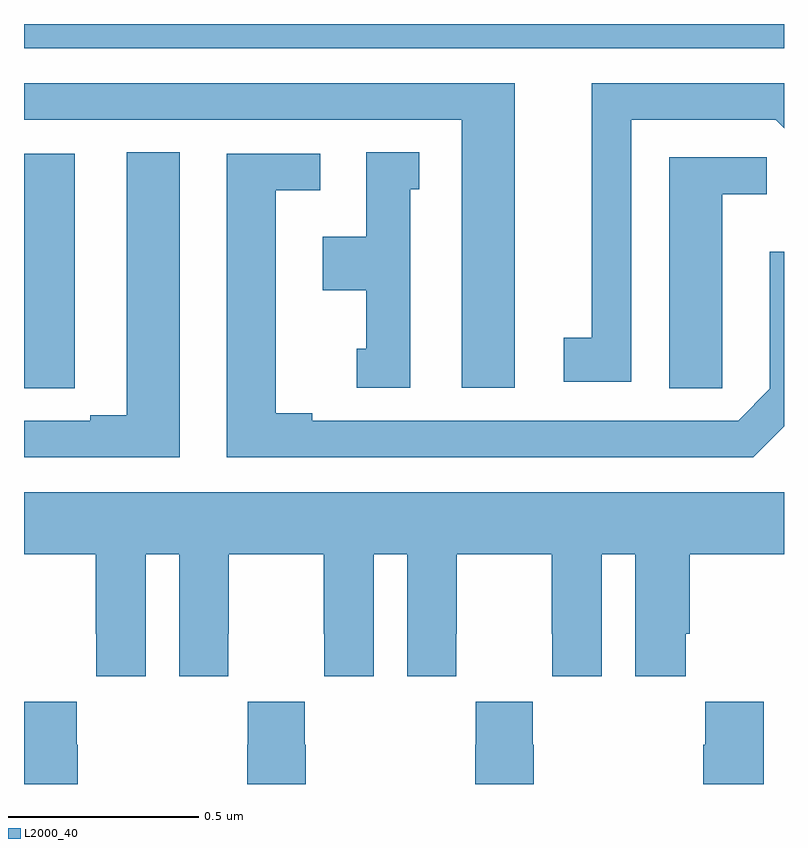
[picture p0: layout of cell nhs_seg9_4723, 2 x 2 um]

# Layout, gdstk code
import gdstk
lib = gdstk.Library(unit=1e-6, precision=1e-09)
def R(c, l, rs):  # rectangles x0, y0, x1, y1
    for r in rs: c.add(gdstk.rectangle(r[:2], r[2:], *l))
def P(c, l, *ps):  # polygons
    for p in ps: c.add(gdstk.Polygon(p, *l))
L2000_40 = (2000, 40)

nhs_seg9_4723 = lib.new_cell('nhs_seg9_4723')
R(nhs_seg9_4723, L2000_40, [(170,1180.436,172,1180.5)])
P(nhs_seg9_4723, L2000_40, [(171.598,1180.248),(171.978,1180.248),(172,1180.226),(172,1180.344),(171.494,1180.344),(171.494,1179.674),(171.42,1179.674),(171.42,1179.558),(171.598,1179.558)],
  [(171.292,1180.344),(170,1180.344),(170,1180.248),(171.152,1180.248),(171.152,1179.543),(171.292,1179.543)],
  [(170.41,1180.163),(170.27,1180.163),(170.27,1179.471),(170.174,1179.471),(170.174,1179.456),(170,1179.456),(170,1179.36),(170.41,1179.36)],
  [(171.016,1180.065),(171.04,1180.065),(171.04,1180.163),(170.9,1180.163),(170.9,1179.94),(170.786,1179.94),(170.786,1179.8),(170.9,1179.8),(170.9,1179.645),(170.876,1179.645),(170.876,1179.543),(171.016,1179.543)],
  [(170.133,1179.649),(170.134,1179.649),(170.134,1180.159),(170,1180.159),(170,1179.541),(170.133,1179.541)],
  [(172,1179.441),(172,1179.901),(171.963,1179.901),(171.963,1179.54),(171.879,1179.456),(170.758,1179.456),(170.758,1179.476),(170.662,1179.476),(170.662,1180.062),(170.779,1180.062),(170.779,1180.158),(170.534,1180.158),(170.534,1179.36),(171.919,1179.36)],
  [(171.837,1179.649),(171.838,1179.649),(171.838,1180.052),(171.955,1180.052),(171.955,1180.149),(171.698,1180.149),(171.698,1179.541),(171.837,1179.541)],
  [(170.32,1179.104),(170.408,1179.104),(170.408,1178.784),(170.538,1178.784),(170.538,1178.896),(170.539,1178.896),(170.539,1179.104),(170.789,1179.104),(170.789,1178.896),(170.79,1178.896),(170.79,1178.784),(170.92,1178.784),(170.92,1179.104),(171.008,1179.104),(171.008,1178.784),(171.138,1178.784),(171.138,1178.896),(171.139,1178.896),(171.139,1179.104),(171.389,1179.104),(171.389,1178.896),(171.39,1178.896),(171.39,1178.784),(171.52,1178.784),(171.52,1179.104),(171.608,1179.104),(171.608,1178.784),(171.742,1178.784),(171.742,1178.896),(171.752,1178.896),(171.752,1179.104),(172,1179.104),(172,1179.268),(170,1179.268),(170,1179.104),(170.189,1179.104),(170.189,1178.896),(170.19,1178.896),(170.19,1178.784),(170.32,1178.784)],
  [(170.142,1178.603),(170.139,1178.603),(170.139,1178.716),(170,1178.716),(170,1178.5),(170.142,1178.5)],
  [(171.947,1178.716),(171.793,1178.716),(171.793,1178.603),(171.787,1178.603),(171.787,1178.5),(171.947,1178.5)],
  [(171.342,1178.603),(171.339,1178.603),(171.339,1178.716),(171.189,1178.716),(171.189,1178.603),(171.187,1178.603),(171.187,1178.5),(171.342,1178.5)],
  [(170.742,1178.603),(170.739,1178.603),(170.739,1178.716),(170.589,1178.716),(170.589,1178.603),(170.587,1178.603),(170.587,1178.5),(170.742,1178.5)])

lib.write_gds('nhs_seg9_4723.gds')
